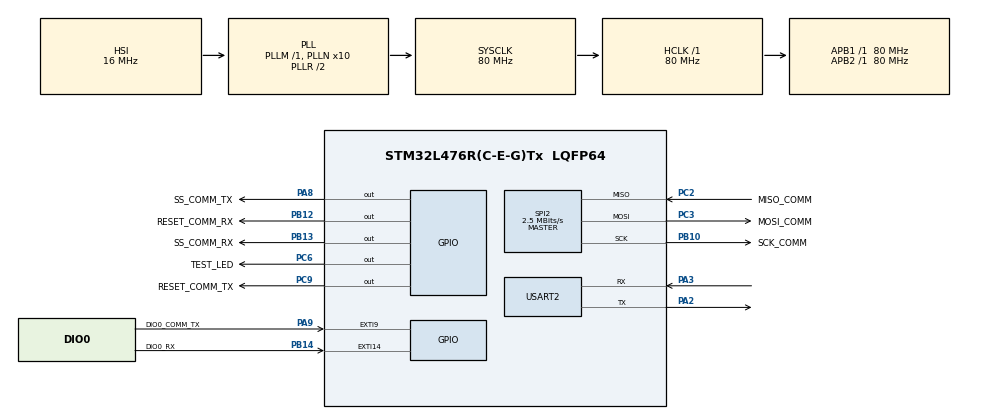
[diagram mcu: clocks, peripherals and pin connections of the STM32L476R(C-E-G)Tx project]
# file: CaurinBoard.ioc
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Mcu.Family=STM32L4
Mcu.Name=STM32L476R(C-E-G)Tx
Mcu.Package=LQFP64
NVIC.EXTI15_10_IRQn=true\:0\:0\:false\:false\:true\:true\:true
NVIC.EXTI9_5_IRQn=true\:0\:0\:false\:false\:true\:true\:true
NVIC.PriorityGroup=NVIC_PRIORITYGROUP_4
PA13\ (JTMS-SWDIO).Mode=JTAG_5_pins
PA13\ (JTMS-SWDIO).Signal=SYS_JTMS-SWDIO
PA14\ (JTCK-SWCLK).Mode=JTAG_5_pins
PA14\ (JTCK-SWCLK).Signal=SYS_JTCK-SWCLK
PA15\ (JTDI).Mode=JTAG_5_pins
PA15\ (JTDI).Signal=SYS_JTDI
PA2.Mode=Asynchronous
PA2.Signal=USART2_TX
PA3.Mode=Asynchronous
PA3.Signal=USART2_RX
PA8.GPIO_Label=SS_COMM_TX
PA8.PinState=GPIO_PIN_SET
PA8.Signal=GPIO_Output
PA9.GPIO_Label=DIO0_COMM_TX
PA9.Signal=GPXTI9
PB10.GPIO_Label=SCK_COMM
PB10.Mode=Full_Duplex_Master
PB10.Signal=SPI2_SCK
PB12.GPIO_Label=RESET_COMM_RX
PB12.PinState=GPIO_PIN_SET
PB12.Signal=GPIO_Output
PB13.GPIO_Label=SS_COMM_RX
PB13.PinState=GPIO_PIN_SET
PB13.Signal=GPIO_Output
PB14.GPIO_Label=DIO0_RX
PB14.Signal=GPXTI14
PB3\ (JTDO-TRACESWO).Mode=JTAG_5_pins
PB3\ (JTDO-TRACESWO).Signal=SYS_JTDO-SWO
PB4\ (NJTRST).Mode=JTAG_5_pins
PB4\ (NJTRST).Signal=SYS_JTRST
PC14-OSC32_IN\ (PC14).Mode=LSE-External-Oscillator
PC14-OSC32_IN\ (PC14).Signal=RCC_OSC32_IN
PC15-OSC32_OUT\ (PC15).Mode=LSE-External-Oscillator
PC15-OSC32_OUT\ (PC15).Signal=RCC_OSC32_OUT
PC2.GPIO_Label=MISO_COMM
PC2.Mode=Full_Duplex_Master
PC2.Signal=SPI2_MISO
PC3.GPIO_Label=MOSI_COMM
PC3.Mode=Full_Duplex_Master
PC3.Signal=SPI2_MOSI
PC6.GPIO_Label=TEST_LED
PC6.Signal=GPIO_Output
PC9.GPIO_Label=RESET_COMM_TX
PC9.PinState=GPIO_PIN_SET
PC9.Signal=GPIO_Output
ProjectManager.HeapSize=0x200
ProjectManager.StackSize=0x400
ProjectManager.TargetToolchain=STM32CubeIDE
RCC.ADCFreq_Value=64000000
RCC.AHBFreq_Value=80000000
RCC.APB1Freq_Value=80000000
RCC.APB1TimFreq_Value=80000000
RCC.APB2Freq_Value=80000000
RCC.APB2TimFreq_Value=80000000
RCC.CortexFreq_Value=80000000
RCC.HCLKFreq_Value=80000000
RCC.HSE_VALUE=8000000
RCC.HSI_VALUE=16000000
RCC.MSI_VALUE=4000000
RCC.PLLN=10
RCC.PLLSourceVirtual=RCC_PLLSOURCE_HSI
RCC.SYSCLKFreq_VALUE=80000000
RCC.SYSCLKSource=RCC_SYSCLKSOURCE_PLLCLK
RCC.USBFreq_Value=64000000
RCC.VCOOutputFreq_Value=160000000
SPI2.BaudRatePrescaler=SPI_BAUDRATEPRESCALER_32
SPI2.CalculateBaudRate=2.5 MBits/s
SPI2.DataSize=SPI_DATASIZE_8BIT
SPI2.Direction=SPI_DIRECTION_2LINES
SPI2.Mode=SPI_MODE_MASTER
SPI2.VirtualType=VM_MASTER
TIM3.Period=0xffff
TIM3.Prescaler=79
USART2.VirtualMode-Asynchronous=VM_ASYNC
VP_TIM3_VS_ClockSourceINT.Mode=Internal
board=custom

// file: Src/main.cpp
/* USER CODE BEGIN Header */
/**
  ******************************************************************************
  * @file           : main.c
  * @brief          : Main program body
  ******************************************************************************
  * @attention
  *
  * <h2><center>&copy; Copyright (c) 2019 STMicroelectronics.
  * All rights reserved.</center></h2>
  *
  * This software component is licensed by ST under BSD 3-Clause license,
  * the "License"; You may not use this file except in compliance with the
  * License. You may obtain a copy of the License at:
  *                        opensource.org/licenses/BSD-3-Clause
  *
  ******************************************************************************
  */
/* USER CODE END Header */

#include "main.h"

/* USER CODE BEGIN Includes */
#include "lora.h"

/* USER CODE END Includes */

SPI_HandleTypeDef hspi2;

TIM_HandleTypeDef htim3;

UART_HandleTypeDef huart2;

/* USER CODE BEGIN PV */
LoRaClass loraRX, loraTX;
int32_t packetSize;
int32_t counter = 0;
uint8_t RxData[128];
uint32_t RxDataLength;

typedef struct {
	uint32_t a;
	int32_t b;
	char c;
	int8_t d;
	void* e;
}TestStruct;

TestStruct t1, t2;

/* USER CODE END PV */

void SystemClock_Config(void);
static void MX_GPIO_Init(void);
static void MX_SPI2_Init(void);
static void MX_TIM3_Init(void);
static void MX_USART2_UART_Init(void);

int main(void)
{

  /* MCU Configuration--------------------------------------------------------*/

  /* Reset of all peripherals, Initializes the Flash interface and the Systick. */
  HAL_Init();

  /* Configure the system clock */
  SystemClock_Config();

  /* Initialize all configured peripherals */
  MX_GPIO_Init();
  MX_SPI2_Init();
  MX_TIM3_Init();
  MX_USART2_UART_Init();
  /* USER CODE BEGIN 2 */

  // OBSERCACOES
  // Falta mudar a frequencia de um dos radios na funcao begin()
  // Os "printf"s nao aparecem no console
  // Falta verificar como a interupcao (DIO0) funciona
  // O receptor do lora nao foi testado no stm
  // Adicionar pinos de reset

  //Inicializacao RX
  loraRX.setPins(SS_COMM_RX_GPIO_Port, SS_COMM_RX_Pin, RESET_COMM_RX_GPIO_Port, RESET_COMM_RX_Pin, EXTI15_10_IRQn);
  loraRX.setSPI(&hspi2);
  loraRX.setTIM(&htim3);

  if (!loraRX.begin(433.123E6)) {
   	  //printf("Starting LoRa RX failed!\n");
	  //memcpy(consoleData, "Starting LoRa RX failed!\n", 26);
	  //HAL_UART_Transmit(&huart2, consoleData, 26, 100);
   	  while (1);
  }

  loraRX.setSignalBandwidth(125E3);
  loraRX.setSpreadingFactor(11);
  loraRX.enableCrc();
  loraRX.receive();
  //printf("LoRa RX started\n");
  //memcpy(consoleData, "LoRa RX started\n", 17);
  //HAL_UART_Transmit(&huart2, consoleData, 17, 100);

  //Inicializacao TX
  loraTX.setPins(SS_COMM_TX_GPIO_Port, SS_COMM_TX_Pin, RESET_COMM_TX_GPIO_Port, RESET_COMM_TX_Pin, EXTI9_5_IRQn);
  loraTX.setSPI(&hspi2);
  loraTX.setTIM(&htim3);

  if (!loraTX.begin(433.123E6)) {
     printf("Starting LoRa RX failed!\n");
     while (1);
  }
  loraTX.setTxPower(20, 1);
  loraTX.setSignalBandwidth(125E3);
  loraTX.setSpreadingFactor(11);
  loraTX.enableCrc();
  printf("LoRa TX started\n");
  /* USER CODE END 2 */

  /* Infinite loop */
  while (1)
  {

    /* USER CODE BEGIN 3 */

	  //Testes com funcoes proprias
	  uint8_t teste[32] = "Teste";
	  loraTX.sendPacket(teste, sizeof(teste));
	  loraRX.readPacket(RxData, sizeof(RxData));

	  t1.a = counter;
	  t1.b = -75;
	  t1.c = '#';
	  t1.d = 128;
	  t1.e = RxData;

	  loraTX.sendPacket(&t1, sizeof(t1));
	  loraRX.readPacket(&t2, sizeof(t2));

	  //Transmissao de pacote
	  printf("Sending packet: %d\n", counter);

	  // send packet
	  loraTX.beginPacket();
	  loraTX.print("alo ");
	  loraTX.print(counter);
	  loraTX.print("\n");
	  loraTX.print("LF working");
	  loraTX.endPacket();

	  counter++;

	  //Recepcao de pacote
	  packetSize = loraRX.parsePacket();

	  if (packetSize) {
	  	printf("Recieved LoRa Packet:\n");
	  }

	  while (loraRX.available()) {
	  	//printf("%c", (char)loraRX.read());
		RxData[RxDataLength++] = (char)loraRX.read();
	  }
	  HAL_Delay(1500);
  }
  /* USER CODE END 3 */
}

void SystemClock_Config(void)
{
  RCC_OscInitTypeDef RCC_OscInitStruct = {0};
  RCC_ClkInitTypeDef RCC_ClkInitStruct = {0};
  RCC_PeriphCLKInitTypeDef PeriphClkInit = {0};

  /** Initializes the CPU, AHB and APB busses clocks
  */
  RCC_OscInitStruct.OscillatorType = RCC_OSCILLATORTYPE_HSI;
  RCC_OscInitStruct.HSIState = RCC_HSI_ON;
  RCC_OscInitStruct.HSICalibrationValue = RCC_HSICALIBRATION_DEFAULT;
  RCC_OscInitStruct.PLL.PLLState = RCC_PLL_ON;
  RCC_OscInitStruct.PLL.PLLSource = RCC_PLLSOURCE_HSI;
  RCC_OscInitStruct.PLL.PLLM = 1;
  RCC_OscInitStruct.PLL.PLLN = 10;
  RCC_OscInitStruct.PLL.PLLP = RCC_PLLP_DIV7;
  RCC_OscInitStruct.PLL.PLLQ = RCC_PLLQ_DIV2;
  RCC_OscInitStruct.PLL.PLLR = RCC_PLLR_DIV2;
  if (HAL_RCC_OscConfig(&RCC_OscInitStruct) != HAL_OK)
  {
    Error_Handler();
  }
  /** Initializes the CPU, AHB and APB busses clocks
  */
  RCC_ClkInitStruct.ClockType = RCC_CLOCKTYPE_HCLK|RCC_CLOCKTYPE_SYSCLK
                              |RCC_CLOCKTYPE_PCLK1|RCC_CLOCKTYPE_PCLK2;
  RCC_ClkInitStruct.SYSCLKSource = RCC_SYSCLKSOURCE_PLLCLK;
  RCC_ClkInitStruct.AHBCLKDivider = RCC_SYSCLK_DIV1;
  RCC_ClkInitStruct.APB1CLKDivider = RCC_HCLK_DIV1;
  RCC_ClkInitStruct.APB2CLKDivider = RCC_HCLK_DIV1;

  if (HAL_RCC_ClockConfig(&RCC_ClkInitStruct, FLASH_LATENCY_4) != HAL_OK)
  {
    Error_Handler();
  }
  PeriphClkInit.PeriphClockSelection = RCC_PERIPHCLK_USART2;
  PeriphClkInit.Usart2ClockSelection = RCC_USART2CLKSOURCE_PCLK1;
  if (HAL_RCCEx_PeriphCLKConfig(&PeriphClkInit) != HAL_OK)
  {
    Error_Handler();
  }
  /** Configure the main internal regulator output voltage
  */
  if (HAL_PWREx_ControlVoltageScaling(PWR_REGULATOR_VOLTAGE_SCALE1) != HAL_OK)
  {
    Error_Handler();
  }
}

static void MX_SPI2_Init(void)
{

  /* SPI2 parameter configuration*/
  hspi2.Instance = SPI2;
  hspi2.Init.Mode = SPI_MODE_MASTER;
  hspi2.Init.Direction = SPI_DIRECTION_2LINES;
  hspi2.Init.DataSize = SPI_DATASIZE_8BIT;
  hspi2.Init.CLKPolarity = SPI_POLARITY_LOW;
  hspi2.Init.CLKPhase = SPI_PHASE_1EDGE;
  hspi2.Init.NSS = SPI_NSS_SOFT;
  hspi2.Init.BaudRatePrescaler = SPI_BAUDRATEPRESCALER_32;
  hspi2.Init.FirstBit = SPI_FIRSTBIT_MSB;
  hspi2.Init.TIMode = SPI_TIMODE_DISABLE;
  hspi2.Init.CRCCalculation = SPI_CRCCALCULATION_DISABLE;
  hspi2.Init.CRCPolynomial = 7;
  hspi2.Init.CRCLength = SPI_CRC_LENGTH_DATASIZE;
  hspi2.Init.NSSPMode = SPI_NSS_PULSE_ENABLE;
  if (HAL_SPI_Init(&hspi2) != HAL_OK)
  {
    Error_Handler();
  }

}

static void MX_TIM3_Init(void)
{

  TIM_ClockConfigTypeDef sClockSourceConfig = {0};
  TIM_MasterConfigTypeDef sMasterConfig = {0};

  htim3.Instance = TIM3;
  htim3.Init.Prescaler = 79;
  htim3.Init.CounterMode = TIM_COUNTERMODE_UP;
  htim3.Init.Period = 0xffff;
  htim3.Init.ClockDivision = TIM_CLOCKDIVISION_DIV1;
  htim3.Init.AutoReloadPreload = TIM_AUTORELOAD_PRELOAD_DISABLE;
  if (HAL_TIM_Base_Init(&htim3) != HAL_OK)
  {
    Error_Handler();
  }
  sClockSourceConfig.ClockSource = TIM_CLOCKSOURCE_INTERNAL;
  if (HAL_TIM_ConfigClockSource(&htim3, &sClockSourceConfig) != HAL_OK)
  {
    Error_Handler();
  }
  sMasterConfig.MasterOutputTrigger = TIM_TRGO_RESET;
  sMasterConfig.MasterSlaveMode = TIM_MASTERSLAVEMODE_DISABLE;
  if (HAL_TIMEx_MasterConfigSynchronization(&htim3, &sMasterConfig) != HAL_OK)
  {
    Error_Handler();
  }

}

static void MX_USART2_UART_Init(void)
{

  huart2.Instance = USART2;
  huart2.Init.BaudRate = 115200;
  huart2.Init.WordLength = UART_WORDLENGTH_8B;
  huart2.Init.StopBits = UART_STOPBITS_1;
  huart2.Init.Parity = UART_PARITY_NONE;
  huart2.Init.Mode = UART_MODE_TX_RX;
  huart2.Init.HwFlowCtl = UART_HWCONTROL_NONE;
  huart2.Init.OverSampling = UART_OVERSAMPLING_16;
  huart2.Init.OneBitSampling = UART_ONE_BIT_SAMPLE_DISABLE;
  huart2.AdvancedInit.AdvFeatureInit = UART_ADVFEATURE_NO_INIT;
  if (HAL_UART_Init(&huart2) != HAL_OK)
  {
    Error_Handler();
  }

}

static void MX_GPIO_Init(void)
{
  GPIO_InitTypeDef GPIO_InitStruct = {0};

  /* GPIO Ports Clock Enable */
  __HAL_RCC_GPIOC_CLK_ENABLE();
  __HAL_RCC_GPIOA_CLK_ENABLE();
  __HAL_RCC_GPIOB_CLK_ENABLE();

  /*Configure GPIO pin Output Level */
  HAL_GPIO_WritePin(GPIOB, RESET_COMM_RX_Pin|SS_COMM_RX_Pin, GPIO_PIN_SET);

  /*Configure GPIO pin Output Level */
  HAL_GPIO_WritePin(TEST_LED_GPIO_Port, TEST_LED_Pin, GPIO_PIN_RESET);

  /*Configure GPIO pin Output Level */
  HAL_GPIO_WritePin(RESET_COMM_TX_GPIO_Port, RESET_COMM_TX_Pin, GPIO_PIN_SET);

  /*Configure GPIO pin Output Level */
  HAL_GPIO_WritePin(SS_COMM_TX_GPIO_Port, SS_COMM_TX_Pin, GPIO_PIN_SET);

  /*Configure GPIO pins : RESET_COMM_RX_Pin SS_COMM_RX_Pin */
  GPIO_InitStruct.Pin = RESET_COMM_RX_Pin|SS_COMM_RX_Pin;
  GPIO_InitStruct.Mode = GPIO_MODE_OUTPUT_PP;
  GPIO_InitStruct.Pull = GPIO_NOPULL;
  GPIO_InitStruct.Speed = GPIO_SPEED_FREQ_LOW;
  HAL_GPIO_Init(GPIOB, &GPIO_InitStruct);

  /*Configure GPIO pin : DIO0_RX_Pin */
  GPIO_InitStruct.Pin = DIO0_RX_Pin;
  GPIO_InitStruct.Mode = GPIO_MODE_IT_RISING;
  GPIO_InitStruct.Pull = GPIO_NOPULL;
  HAL_GPIO_Init(DIO0_RX_GPIO_Port, &GPIO_InitStruct);

  /*Configure GPIO pins : TEST_LED_Pin RESET_COMM_TX_Pin */
  GPIO_InitStruct.Pin = TEST_LED_Pin|RESET_COMM_TX_Pin;
  GPIO_InitStruct.Mode = GPIO_MODE_OUTPUT_PP;
  GPIO_InitStruct.Pull = GPIO_NOPULL;
  GPIO_InitStruct.Speed = GPIO_SPEED_FREQ_LOW;
  HAL_GPIO_Init(GPIOC, &GPIO_InitStruct);

  /*Configure GPIO pin : SS_COMM_TX_Pin */
  GPIO_InitStruct.Pin = SS_COMM_TX_Pin;
  GPIO_InitStruct.Mode = GPIO_MODE_OUTPUT_PP;
  GPIO_InitStruct.Pull = GPIO_NOPULL;
  GPIO_InitStruct.Speed = GPIO_SPEED_FREQ_LOW;
  HAL_GPIO_Init(SS_COMM_TX_GPIO_Port, &GPIO_InitStruct);

  /*Configure GPIO pin : DIO0_COMM_TX_Pin */
  GPIO_InitStruct.Pin = DIO0_COMM_TX_Pin;
  GPIO_InitStruct.Mode = GPIO_MODE_IT_RISING;
  GPIO_InitStruct.Pull = GPIO_NOPULL;
  HAL_GPIO_Init(DIO0_COMM_TX_GPIO_Port, &GPIO_InitStruct);

  /* EXTI interrupt init*/
  HAL_NVIC_SetPriority(EXTI9_5_IRQn, 0, 0);
  HAL_NVIC_EnableIRQ(EXTI9_5_IRQn);

  HAL_NVIC_SetPriority(EXTI15_10_IRQn, 0, 0);
  HAL_NVIC_EnableIRQ(EXTI15_10_IRQn);

}

/* USER CODE BEGIN 4 */
void HAL_GPIO_EXTI_Callback (uint16_t GPIO_Pin){
	if(GPIO_Pin == DIO0_COMM_TX_Pin){
		loraTX.onDio0Rise();
	}
	if(GPIO_Pin == DIO0_RX_Pin){
		loraRX.onDio0Rise();
	}
}
/* USER CODE END 4 */

void Error_Handler(void)
{
}

/************************ (C) COPYRIGHT STMicroelectronics *****END OF FILE****/
